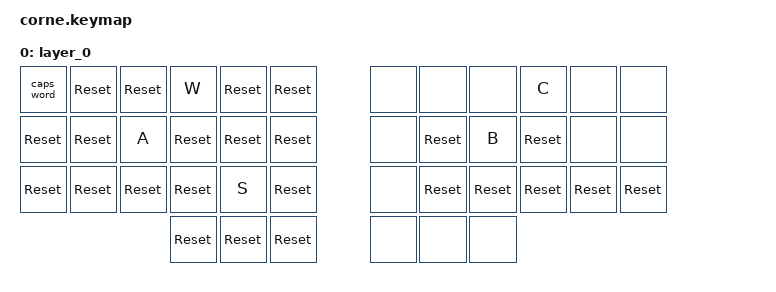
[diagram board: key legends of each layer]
/*
 * Copyright (c) 2020 The ZMK Contributors
 *
 * SPDX-License-Identifier: MIT
 */

#include <behaviors.dtsi>
#include <dt-bindings/zmk/keys.h>

/ {
    combos { compatible = "zmk,combos"; };

    keymap {
        compatible = "zmk,keymap";

        layer_0 {
            bindings = <
&caps_word  &sys_reset  &sys_reset  &kp W       &sys_reset  &sys_reset    &none  &none       &none       &kp C       &none       &none
&sys_reset  &sys_reset  &kp A       &sys_reset  &sys_reset  &sys_reset    &none  &sys_reset  &kp B       &sys_reset  &none       &none
&sys_reset  &sys_reset  &sys_reset  &sys_reset  &kp S       &sys_reset    &none  &sys_reset  &sys_reset  &sys_reset  &sys_reset  &sys_reset
                                    &sys_reset  &sys_reset  &sys_reset    &none  &none       &none
            >;
        };
    };
};
